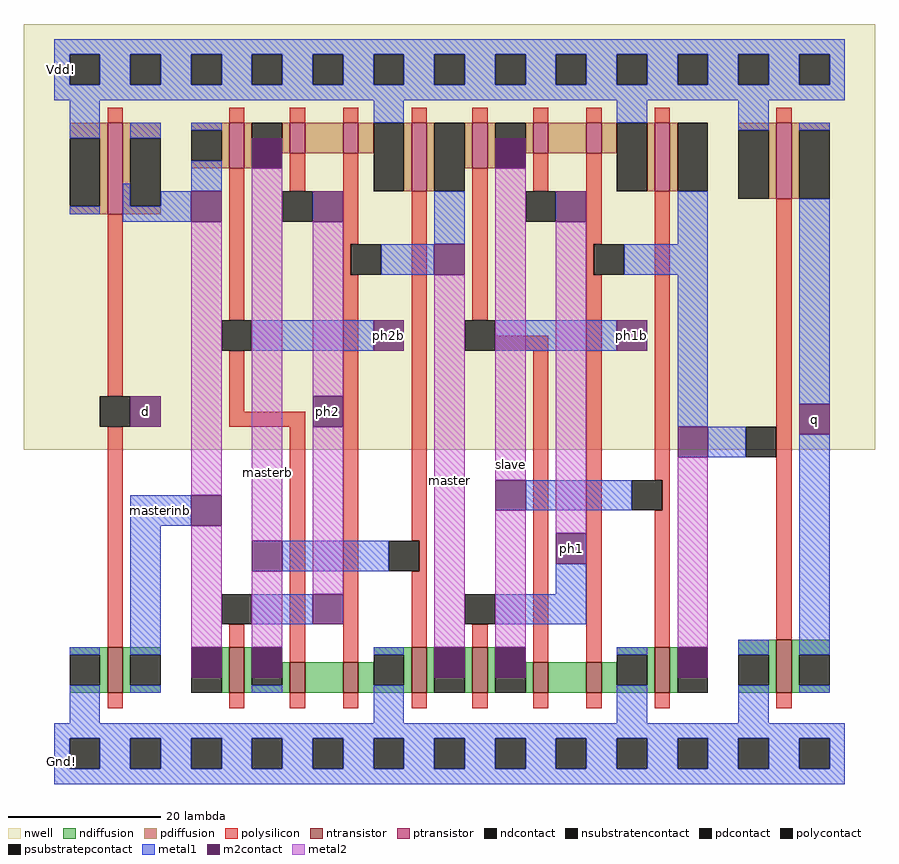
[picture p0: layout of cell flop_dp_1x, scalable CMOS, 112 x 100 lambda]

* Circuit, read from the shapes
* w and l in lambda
.subckt flop_dp_1x Gnd! Vdd! d master masterb masterinb ph1 ph1b ph2 ph2b q slave
M1 masterinb d Gnd! Gnd! nfet w=6 l=2
M2 masterb ph2 masterinb Gnd! nfet w=6 l=2
M3 n1 ph2b masterb Gnd! nfet w=4 l=2
M4 Gnd! master n1 Gnd! nfet w=4 l=2
M5 master masterb Gnd! Gnd! nfet w=6 l=2
M6 slave ph1 master Gnd! nfet w=6 l=2
M7 n2 ph1b slave Gnd! nfet w=4 l=2
M8 Gnd! n3 n2 Gnd! nfet w=4 l=2
M9 n3 slave Gnd! Gnd! nfet w=6 l=2
M10 q n3 Gnd! Gnd! nfet w=7 l=2
M11 masterinb d Vdd! Vdd! pfet w=12 l=2
M12 masterb ph2b masterinb Vdd! pfet w=6 l=2
M13 n4 ph2 masterb Vdd! pfet w=4 l=2
M14 Vdd! master n4 Vdd! pfet w=4 l=2
M15 master masterb Vdd! Vdd! pfet w=9 l=2
M16 slave ph1b master Vdd! pfet w=6 l=2
M17 n5 ph1 slave Vdd! pfet w=4 l=2
M18 Vdd! n3 n5 Vdd! pfet w=4 l=2
M19 n3 slave Vdd! Vdd! pfet w=9 l=2
M20 q n3 Vdd! Vdd! pfet w=10 l=2
.ends

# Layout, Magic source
magic
tech scmos
<< nwell >>
rect 34 40 146 96
<< ntransistor >>
rect 45 8 47 14
rect 61 8 63 14
rect 69 8 71 12
rect 76 8 78 12
rect 85 8 87 14
rect 93 8 95 14
rect 101 8 103 12
rect 108 8 110 12
rect 117 8 119 14
rect 133 8 135 15
<< ptransistor >>
rect 45 71 47 83
rect 61 77 63 83
rect 69 79 71 83
rect 76 79 78 83
rect 85 74 87 83
rect 93 77 95 83
rect 101 79 103 83
rect 108 79 110 83
rect 117 74 119 83
rect 133 73 135 83
<< ndiffusion >>
rect 40 13 45 14
rect 44 9 45 13
rect 40 8 45 9
rect 47 13 52 14
rect 47 9 48 13
rect 47 8 52 9
rect 60 8 61 14
rect 63 9 64 14
rect 80 13 85 14
rect 68 9 69 12
rect 63 8 69 9
rect 71 8 76 12
rect 78 9 80 12
rect 84 9 85 13
rect 78 8 85 9
rect 87 8 88 14
rect 92 8 93 14
rect 95 8 96 14
rect 112 13 117 14
rect 100 8 101 12
rect 103 8 108 12
rect 110 9 112 12
rect 116 9 117 13
rect 110 8 117 9
rect 119 8 120 14
rect 128 13 133 15
rect 132 9 133 13
rect 128 8 133 9
rect 135 13 140 15
rect 135 9 136 13
rect 135 8 140 9
<< pdiffusion >>
rect 40 81 45 83
rect 44 72 45 81
rect 40 71 45 72
rect 47 81 52 83
rect 47 72 48 81
rect 56 82 61 83
rect 60 78 61 82
rect 56 77 61 78
rect 63 77 64 83
rect 68 79 69 83
rect 71 79 76 83
rect 78 79 80 83
rect 47 71 52 72
rect 84 74 85 83
rect 87 74 88 83
rect 92 77 93 83
rect 95 77 96 83
rect 100 79 101 83
rect 103 79 108 83
rect 110 79 112 83
rect 116 74 117 83
rect 119 74 120 83
rect 128 82 133 83
rect 132 73 133 82
rect 135 82 140 83
rect 135 73 136 82
<< ndcontact >>
rect 40 9 44 13
rect 48 9 52 13
rect 56 8 60 14
rect 64 9 68 14
rect 80 9 84 13
rect 88 8 92 14
rect 96 8 100 14
rect 112 9 116 13
rect 120 8 124 14
rect 128 9 132 13
rect 136 9 140 13
<< pdcontact >>
rect 40 72 44 81
rect 48 72 52 81
rect 56 78 60 82
rect 64 77 68 83
rect 80 74 84 83
rect 88 74 92 83
rect 96 77 100 83
rect 112 74 116 83
rect 120 74 124 83
rect 128 73 132 82
rect 136 73 140 82
<< psubstratepcontact >>
rect 40 -2 44 2
rect 48 -2 52 2
rect 56 -2 60 2
rect 64 -2 68 2
rect 72 -2 76 2
rect 80 -2 84 2
rect 88 -2 92 2
rect 96 -2 100 2
rect 104 -2 108 2
rect 112 -2 116 2
rect 120 -2 124 2
rect 128 -2 132 2
rect 136 -2 140 2
<< nsubstratencontact >>
rect 40 88 44 92
rect 48 88 52 92
rect 56 88 60 92
rect 64 88 68 92
rect 72 88 76 92
rect 80 88 84 92
rect 88 88 92 92
rect 96 88 100 92
rect 104 88 108 92
rect 112 88 116 92
rect 120 88 124 92
rect 128 88 132 92
rect 136 88 140 92
<< polysilicon >>
rect 45 83 47 85
rect 61 83 63 85
rect 69 83 71 85
rect 76 83 78 85
rect 85 83 87 85
rect 93 83 95 85
rect 101 83 103 85
rect 108 83 110 85
rect 117 83 119 85
rect 133 83 135 85
rect 45 47 47 71
rect 61 57 63 77
rect 69 74 71 79
rect 76 67 78 79
rect 76 63 77 67
rect 61 45 63 53
rect 61 43 71 45
rect 45 14 47 43
rect 61 14 63 17
rect 69 12 71 43
rect 76 12 78 63
rect 85 28 87 74
rect 93 57 95 77
rect 101 74 103 79
rect 108 67 110 79
rect 108 63 109 67
rect 96 53 103 55
rect 86 24 87 28
rect 85 14 87 24
rect 93 14 95 17
rect 101 12 103 53
rect 108 12 110 63
rect 117 36 119 74
rect 118 32 119 36
rect 117 14 119 32
rect 133 15 135 73
rect 45 6 47 8
rect 61 6 63 8
rect 69 6 71 8
rect 76 6 78 8
rect 85 6 87 8
rect 93 6 95 8
rect 101 6 103 8
rect 108 6 110 8
rect 117 6 119 8
rect 133 6 135 8
<< polycontact >>
rect 68 70 72 74
rect 77 63 81 67
rect 60 53 64 57
rect 44 43 48 47
rect 60 17 64 21
rect 100 70 104 74
rect 109 63 113 67
rect 92 53 96 57
rect 82 24 86 28
rect 92 17 96 21
rect 129 39 133 43
rect 114 32 118 36
<< metal1 >>
rect 38 92 142 94
rect 38 88 40 92
rect 44 88 48 92
rect 52 88 56 92
rect 60 88 64 92
rect 68 88 72 92
rect 76 88 80 92
rect 84 88 88 92
rect 92 88 96 92
rect 100 88 104 92
rect 108 88 112 92
rect 116 88 120 92
rect 124 88 128 92
rect 132 88 136 92
rect 140 88 142 92
rect 38 86 142 88
rect 40 81 44 86
rect 80 83 84 86
rect 112 83 116 86
rect 48 81 52 83
rect 40 71 44 72
rect 47 72 48 75
rect 56 82 60 83
rect 56 74 60 78
rect 52 72 56 74
rect 47 70 56 72
rect 88 67 92 74
rect 120 67 124 74
rect 128 82 132 86
rect 136 82 140 83
rect 81 63 88 67
rect 113 63 124 67
rect 64 53 80 57
rect 96 53 112 57
rect 120 43 124 63
rect 136 46 140 73
rect 124 39 129 43
rect 48 30 56 34
rect 100 32 114 36
rect 40 13 44 14
rect 40 4 44 9
rect 48 13 52 30
rect 68 24 82 28
rect 104 21 108 25
rect 64 17 72 21
rect 96 17 108 21
rect 48 8 52 9
rect 64 8 68 9
rect 80 13 84 14
rect 80 4 84 9
rect 112 13 116 14
rect 112 4 116 9
rect 128 13 132 15
rect 128 4 132 9
rect 136 13 140 42
rect 136 8 140 9
rect 38 2 142 4
rect 38 -2 40 2
rect 44 -2 48 2
rect 52 -2 56 2
rect 60 -2 64 2
rect 68 -2 72 2
rect 76 -2 80 2
rect 84 -2 88 2
rect 92 -2 96 2
rect 100 -2 104 2
rect 108 -2 112 2
rect 116 -2 120 2
rect 124 -2 128 2
rect 132 -2 136 2
rect 140 -2 142 2
rect 38 -4 142 -2
<< m2contact >>
rect 64 77 68 81
rect 96 77 100 81
rect 56 70 60 74
rect 72 70 76 74
rect 104 70 108 74
rect 88 63 92 67
rect 80 53 84 57
rect 112 53 116 57
rect 48 43 52 47
rect 72 43 76 47
rect 120 39 124 43
rect 136 42 140 46
rect 56 30 60 34
rect 96 32 100 36
rect 64 24 68 28
rect 104 25 108 29
rect 72 17 76 21
rect 56 10 60 14
rect 64 10 68 14
rect 88 10 92 14
rect 96 10 100 14
rect 120 10 124 14
<< metal2 >>
rect 56 34 60 70
rect 56 14 60 30
rect 64 28 68 77
rect 64 14 68 24
rect 72 47 76 70
rect 72 21 76 43
rect 88 14 92 63
rect 96 36 100 77
rect 96 14 100 32
rect 104 29 108 70
rect 120 14 124 39
<< labels >>
rlabel m2contact 50 45 50 45 1 d
rlabel m2contact 74 45 74 45 1 ph2
rlabel m2contact 82 55 82 55 1 ph2b
rlabel metal1 39 -1 39 -1 2 Gnd!
rlabel metal1 39 90 39 90 3 Vdd!
rlabel m2contact 106 27 106 27 1 ph1
rlabel m2contact 138 44 138 44 1 q
rlabel m2contact 114 55 114 55 1 ph1b
rlabel metal1 52 32 52 32 1 masterinb
rlabel metal2 66 37 66 37 1 masterb
rlabel metal2 90 36 90 36 1 master
rlabel metal2 98 38 98 38 1 slave
<< end >>
